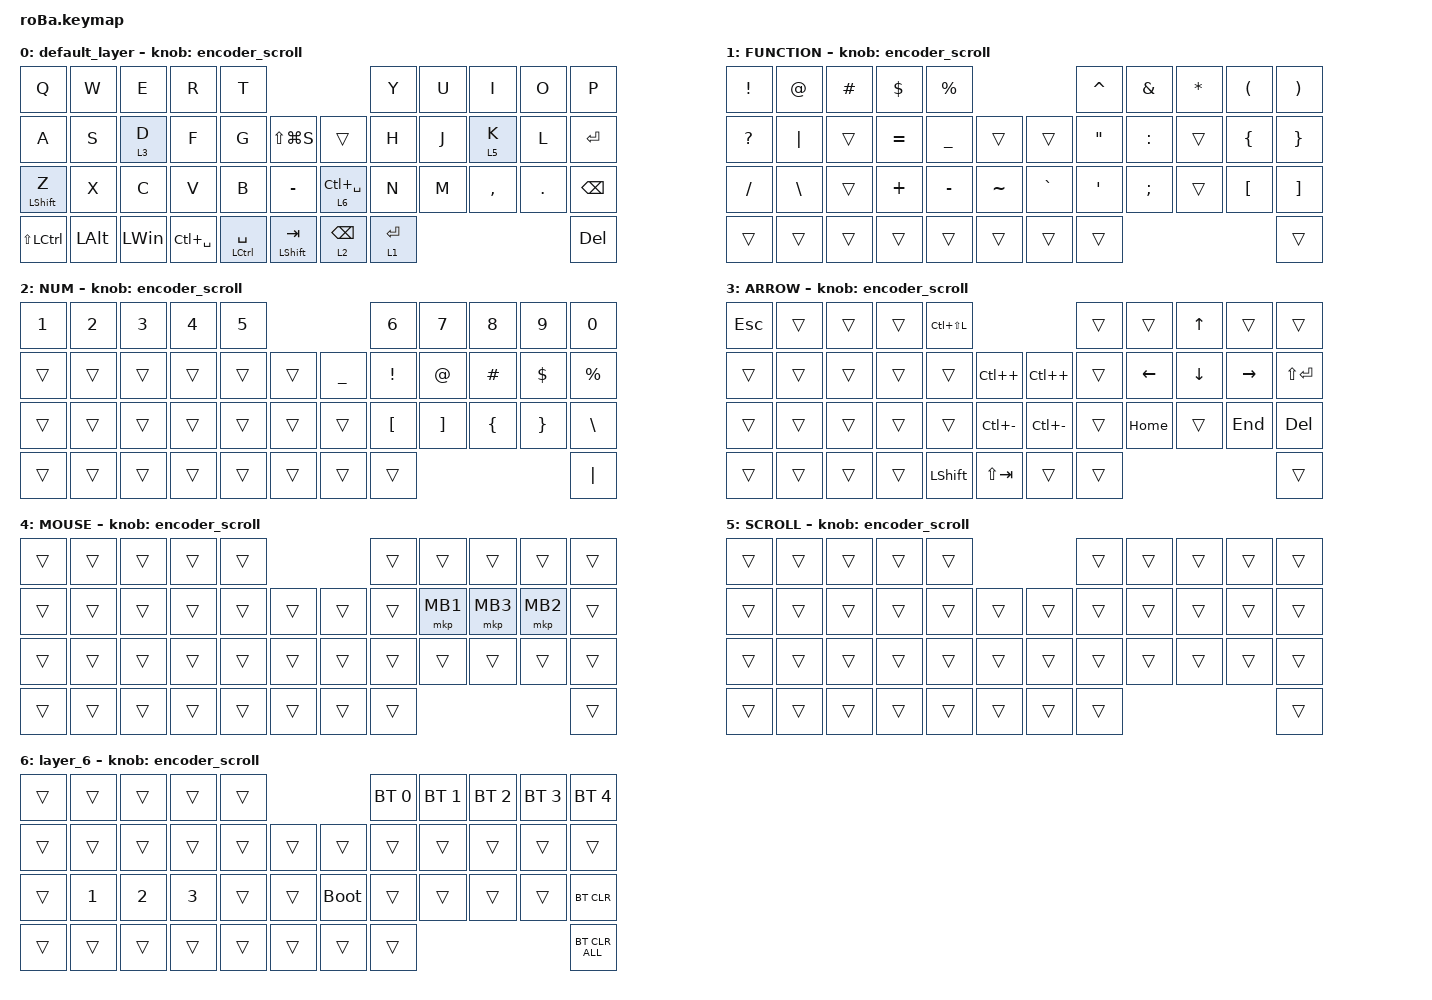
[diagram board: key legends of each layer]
#define ZMK_POINTING_DEFAULT_SCRL_VAL 80

#include <behaviors.dtsi>
#include <dt-bindings/zmk/bt.h>
#include <dt-bindings/zmk/keys.h>
#include <dt-bindings/zmk/pointing.h>

&mt {
    flavor = "balanced";
    quick-tap-ms = <0>;
};

&trackball {
    automouse-layer = <4>;
    scroll-layers = <5>;

    // arrows {
    //     layers = <3>;
    //     bindings =
    //         <&kp RIGHT_ARROW>,
    //         <&kp LEFT_ARROW>,
    //         <&kp UP_ARROW>,
    //         <&kp DOWN_ARROW>;
    //     tick = <10>;
    //     wait-ms = <5>;
    //     tap-ms = <5>;
    // };
};

/ {
    combos {
        compatible = "zmk,combos";

        tab {
            bindings = <&kp TAB>;
            key-positions = <11 12>;
        };

        shift_tab {
            bindings = <&kp LS(TAB)>;
            key-positions = <12 13>;
        };

        muhennkann {
            bindings = <&to_layer_0 INT_MUHENKAN>;
            key-positions = <11 10>;
        };

        double_quotation {
            bindings = <&kp DOUBLE_QUOTES>;
            key-positions = <20 21>;
        };

        eq {
            bindings = <&kp EQUAL>;
            key-positions = <24 25>;
        };
    };

    macros {
        to_layer_0: to_layer_0 {
            compatible = "zmk,behavior-macro-one-param";
            #binding-cells = <1>;
            bindings = <&to 0 &macro_param_1to1 &kp MACRO_PLACEHOLDER>;
            label = "TO_LAYER_0";
        };
    };

    behaviors {
        encoder_scroll: encoder_scroll {
            compatible = "zmk,behavior-sensor-rotate";
            label = "ENCODER_SCROLL";
            #sensor-binding-cells = <0>;
            bindings = <&msc SCRL_DOWN>, <&msc SCRL_UP>;

            tap-ms = <20>;
        };

        lt_to_layer_0: lt_to_layer_0 {
            compatible = "zmk,behavior-hold-tap";
            label = "LAYER_TAP_TO_0";
            bindings = <&mo>, <&to_layer_0>;

            #binding-cells = <2>;
            tapping-term-ms = <200>;
        };
    };

    keymap {
        compatible = "zmk,keymap";

        default_layer {
            bindings = <
&kp Q             &kp W         &kp E               &kp R          &kp T                                                                &kp Y        &kp U  &kp I      &kp O    &kp P
&kp A             &kp S         &lt_to_layer_0 3 D  &kp F          &kp G            &kp LS(LG(S))           &trans                      &kp H        &kp J  &lt 5 K    &kp L    &kp ENTER
&mt LEFT_SHIFT Z  &kp X         &kp C               &kp V          &kp B            &kp MINUS               &lt_to_layer_0 6 LC(SPACE)  &kp N        &kp M  &kp COMMA  &kp DOT  &kp BACKSPACE
&kp LS(LCTRL)     &kp LEFT_ALT  &kp LEFT_WIN        &kp LC(SPACE)  &mt LCTRL SPACE  &mt LEFT_SHIFT TAB      &lt 2 BACKSPACE             &lt 1 ENTER                             &kp DEL
            >;

            sensor-bindings = <&encoder_scroll>;
        };

        FUNCTION {
            bindings = <
&kp EXCLAMATION  &kp AT_SIGN    &kp HASH  &kp DOLLAR  &kp PERCENT                               &kp CARET          &kp AMPERSAND  &kp ASTERISK  &kp LEFT_PARENTHESIS  &kp RIGHT_PARENTHESIS
&kp QUESTION     &kp PIPE       &trans    &kp EQUAL   &kp UNDERSCORE  &trans         &trans     &kp DOUBLE_QUOTES  &kp COLON      &trans        &kp LEFT_BRACE        &kp RIGHT_BRACE
&kp SLASH        &kp BACKSLASH  &trans    &kp PLUS    &kp MINUS       &kp TILDE      &kp GRAVE  &kp SQT            &kp SEMICOLON  &trans        &kp LEFT_BRACKET      &kp RIGHT_BRACKET
&trans           &trans         &trans    &trans      &trans          &trans         &trans     &trans                                                                &trans
            >;

            sensor-bindings = <&encoder_scroll>;
        };

        NUM {
            bindings = <
&kp NUMBER_1  &kp NUMBER_2  &kp NUMBER_3  &kp NUMBER_4  &kp N5                              &kp NUMBER_6      &kp N7             &kp N8          &kp N9           &kp N0
&trans        &trans        &trans        &trans        &trans  &trans      &kp UNDERSCORE  &kp EXCLAMATION   &kp AT_SIGN        &kp HASH        &kp DOLLAR       &kp PERCENT
&trans        &trans        &trans        &trans        &trans  &trans      &trans          &kp LEFT_BRACKET  &kp RIGHT_BRACKET  &kp LEFT_BRACE  &kp RIGHT_BRACE  &kp BACKSLASH
&trans        &trans        &trans        &trans        &trans  &trans      &trans          &trans                                                                &kp PIPE
            >;

            sensor-bindings = <&encoder_scroll>;
        };

        ARROW {
            bindings = <
&kp ESCAPE  &trans  &trans  &trans  &kp LC(LS(L))                                     &trans  &trans          &kp UP_ARROW    &trans           &trans
&trans      &trans  &trans  &trans  &trans          &kp LC(PLUS)       &kp LC(PLUS)   &trans  &kp LEFT_ARROW  &kp DOWN_ARROW  &kp RIGHT_ARROW  &kp LS(ENTER)
&trans      &trans  &trans  &trans  &trans          &kp LC(MINUS)      &kp LC(MINUS)  &trans  &kp HOME        &trans          &kp END          &kp DELETE
&trans      &trans  &trans  &trans  &kp LEFT_SHIFT  &kp LS(TAB)        &trans         &trans                                                   &trans
            >;

            sensor-bindings = <&encoder_scroll>;
        };

        MOUSE {
            bindings = <
&trans  &trans  &trans  &trans  &trans                      &trans  &trans    &trans    &trans    &trans
&trans  &trans  &trans  &trans  &trans  &trans      &trans  &trans  &mkp MB1  &mkp MB3  &mkp MB2  &trans
&trans  &trans  &trans  &trans  &trans  &trans      &trans  &trans  &trans    &trans    &trans    &trans
&trans  &trans  &trans  &trans  &trans  &trans      &trans  &trans                                &trans
            >;

            sensor-bindings = <&encoder_scroll>;
        };

        SCROLL {
            bindings = <
&trans  &trans  &trans  &trans  &trans                      &trans  &trans  &trans  &trans  &trans
&trans  &trans  &trans  &trans  &trans  &trans      &trans  &trans  &trans  &trans  &trans  &trans
&trans  &trans  &trans  &trans  &trans  &trans      &trans  &trans  &trans  &trans  &trans  &trans
&trans  &trans  &trans  &trans  &trans  &trans      &trans  &trans                          &trans
            >;

            sensor-bindings = <&encoder_scroll>;
        };

        layer_6 {
            bindings = <
&trans  &trans        &trans        &trans        &trans                           &bt BT_SEL 0  &bt BT_SEL 1  &bt BT_SEL 2  &bt BT_SEL 3  &bt BT_SEL 4
&trans  &trans        &trans        &trans        &trans  &trans      &trans       &trans        &trans        &trans        &trans        &trans
&trans  &kp NUMBER_1  &kp NUMBER_2  &kp NUMBER_3  &trans  &trans      &bootloader  &trans        &trans        &trans        &trans        &bt BT_CLR
&trans  &trans        &trans        &trans        &trans  &trans      &trans       &trans                                                  &bt BT_CLR_ALL
            >;

            sensor-bindings = <&encoder_scroll>;
        };
    };
};
